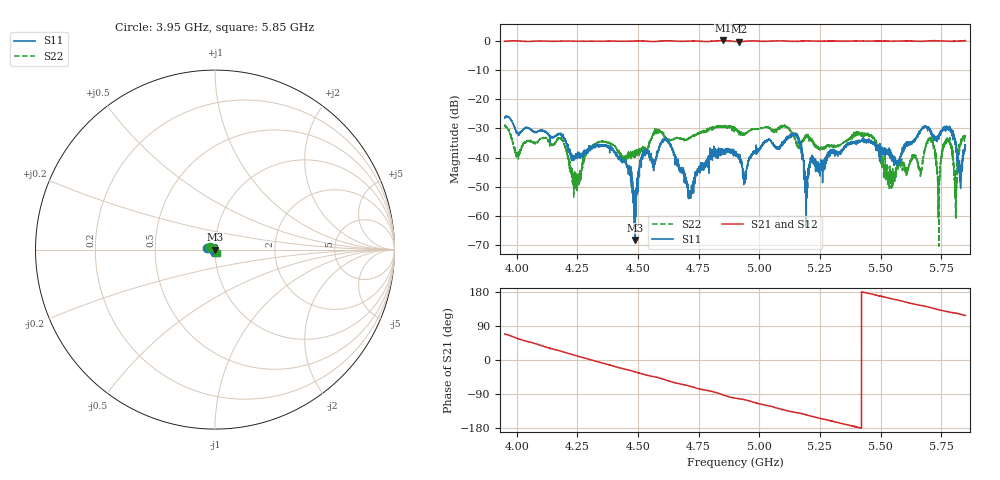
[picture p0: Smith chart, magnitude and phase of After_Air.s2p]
# GHZ S RI R 50.000000000000
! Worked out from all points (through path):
!   4501 points, 3.95 GHz to 5.85 GHz, reference 50 ohm
!   highest |S21| = 0.27 dB at 4.851 GHz (marker M1); lowest = -0.1 dB at 4.916 GHz (marker M2)
!   group delay of S21, straight-line fit = 449 ps
!   lowest |S11| = -68.3 dB at 4.489 GHz (marker M3), VSWR 1.00, Z = 50 + j0.0328 ohm
!   |S11| at or under -10 dB: start of sweep to end of sweep
!   |S22| runs from -70.5 to -28.7 dB; largest |S21 - S12| = 0.025
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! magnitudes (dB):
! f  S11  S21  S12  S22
! 3.95 GHz  -26.5  0.0  -0.1  -29.5
! 4.267 GHz  -39.0  0.0  0.0  -43.8
! 4.393 GHz  -36.9  0.1  0.0  -35.4
! 4.489 GHz  -68.3  0.1  0.1  -39.9
! 4.517 GHz  -39.0  0.1  0.1  -37.0
! 4.584 GHz  -37.7  0.0  -0.1  -30.5
! 4.624 GHz  -34.5  0.2  0.2  -34.2
! 4.715 GHz  -53.9  0.1  0.1  -33.2
! 4.851 GHz  -37.9  0.3  0.3  -29.1
! 4.9 GHz  -38.2  -0.1  0.0  -29.9
! 4.916 GHz  -40.0  -0.1  -0.1  -31.0
! 5.143 GHz  -32.2  0.0  -0.1  -33.1
! 5.193 GHz  -55.6  0.2  0.2  -32.0
! 5.217 GHz  -40.6  0.1  0.1  -34.3
! 5.456 GHz  -34.3  0.1  0.1  -32.5
! 5.534 GHz  -38.8  0.0  0.1  -46.7
! 5.705 GHz  -31.0  0.2  0.2  -33.7
! 5.741 GHz  -32.0  0.1  0.2  -70.5
! 5.777 GHz  -29.9  0.0  0.0  -34.1
! 5.811 GHz  -35.6  0.0  0.0  -53.2
! 5.828 GHz  -46.0  0.1  0.1  -35.8
! 5.85 GHz  -35.8  0.2  0.2  -32.7
